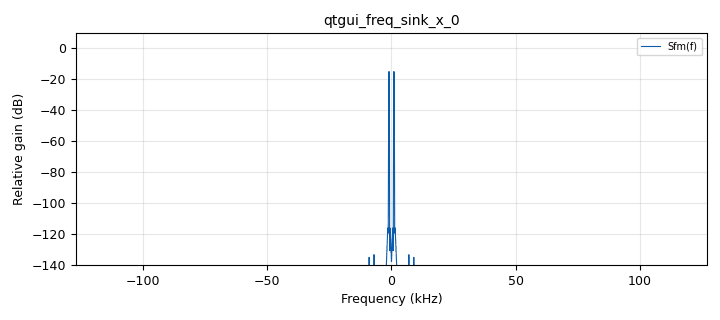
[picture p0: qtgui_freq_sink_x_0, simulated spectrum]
<?xml version='1.0' encoding='utf-8'?>
<?grc format='1' created='3.7.9'?>
<flow_graph>
<block>
<key>options</key>
<param><key>id</key><value>top_block</value></param>
<param><key>category</key><value>Custom</value></param>
<param><key>generate_options</key><value>qt_gui</value></param>
</block>
<block>
<key>variable_qtgui_range</key>
<param><key>id</key><value>Am</value></param>
<param><key>value</key><value>0</value></param>
<param><key>orient</key><value>Qt.Horizontal</value></param>
<param><key>start</key><value>0</value></param>
<param><key>step</key><value>0.25</value></param>
<param><key>stop</key><value>2</value></param>
</block>
<block>
<key>variable_qtgui_range</key>
<param><key>id</key><value>fc</value></param>
<param><key>value</key><value>1000</value></param>
<param><key>orient</key><value>Qt.Horizontal</value></param>
<param><key>start</key><value>1000</value></param>
<param><key>step</key><value>500</value></param>
<param><key>stop</key><value>5000</value></param>
</block>
<block>
<key>variable_qtgui_range</key>
<param><key>id</key><value>fm</value></param>
<param><key>value</key><value>0.5</value></param>
<param><key>orient</key><value>Qt.Horizontal</value></param>
<param><key>start</key><value>0.5</value></param>
<param><key>step</key><value>0.5</value></param>
<param><key>stop</key><value>5</value></param>
</block>
<block>
<key>variable</key>
<param><key>id</key><value>kvco</value></param>
<param><key>value</key><value>2000</value></param>
</block>
<block>
<key>variable</key>
<param><key>id</key><value>samp_rate</value></param>
<param><key>value</key><value>254000</value></param>
</block>
<block>
<key>analog_sig_source_x</key>
<param><key>id</key><value>analog_sig_source_x_0</value></param>
<param><key>amp</key><value>1</value></param>
<param><key>freq</key><value>fc</value></param>
<param><key>offset</key><value>0</value></param>
<param><key>type</key><value>complex</value></param>
<param><key>samp_rate</key><value>samp_rate</value></param>
<param><key>waveform</key><value>analog.GR_COS_WAVE</value></param>
</block>
<block>
<key>audio_sink</key>
<param><key>id</key><value>audio_sink_0</value></param>
<param><key>samp_rate</key><value>samp_rate</value></param>
</block>
<block>
<key>blocks_complex_to_real</key>
<param><key>id</key><value>blocks_complex_to_real_0</value></param>
</block>
<block>
<key>blocks_integrate_xx</key>
<param><key>id</key><value>blocks_integrate_xx_0</value></param>
<param><key>decim</key><value>1</value></param>
<param><key>type</key><value>float</value></param>
</block>
<block>
<key>blocks_multiply_xx</key>
<param><key>id</key><value>blocks_multiply_xx_0</value></param>
<param><key>type</key><value>complex</value></param>
</block>
<block>
<key>blocks_vco_c</key>
<param><key>id</key><value>blocks_vco_c_0</value></param>
<param><key>amplitude</key><value>1</value></param>
<param><key>samp_rate</key><value>samp_rate</value></param>
<param><key>sensitivity</key><value>2*3.14159265*kvco</value></param>
</block>
<block>
<key>qtgui_freq_sink_x</key>
<param><key>id</key><value>qtgui_freq_sink_x_0</value></param>
<param><key>bw</key><value>samp_rate</value></param>
<param><key>fc</key><value>0</value></param>
<param><key>ctrlpanel</key><value>True</value></param>
<param><key>fftsize</key><value>4096</value></param>
<param><key>grid</key><value>True</value></param>
<param><key>label1</key><value>Sfm(f)</value></param>
<param><key>showports</key><value>True</value></param>
<param><key>type</key><value>float</value></param>
<param><key>wintype</key><value>firdes.WIN_BLACKMAN_hARRIS</value></param>
</block>
<block>
<key>analog_sig_source_x</key>
<param><key>id</key><value>v</value></param>
<param><key>amp</key><value>Am</value></param>
<param><key>freq</key><value>fm</value></param>
<param><key>offset</key><value>0</value></param>
<param><key>type</key><value>float</value></param>
<param><key>samp_rate</key><value>samp_rate</value></param>
<param><key>waveform</key><value>analog.GR_SIN_WAVE</value></param>
</block>
<connection><source_block_id>analog_sig_source_x_0</source_block_id><sink_block_id>blocks_multiply_xx_0</sink_block_id><source_key>0</source_key><sink_key>1</sink_key></connection>
<connection><source_block_id>blocks_complex_to_real_0</source_block_id><sink_block_id>audio_sink_0</sink_block_id><source_key>0</source_key><sink_key>0</sink_key></connection>
<connection><source_block_id>blocks_complex_to_real_0</source_block_id><sink_block_id>qtgui_freq_sink_x_0</sink_block_id><source_key>0</source_key><sink_key>0</sink_key></connection>
<connection><source_block_id>blocks_integrate_xx_0</source_block_id><sink_block_id>blocks_vco_c_0</sink_block_id><source_key>0</source_key><sink_key>0</sink_key></connection>
<connection><source_block_id>blocks_multiply_xx_0</source_block_id><sink_block_id>blocks_complex_to_real_0</sink_block_id><source_key>0</source_key><sink_key>0</sink_key></connection>
<connection><source_block_id>blocks_vco_c_0</source_block_id><sink_block_id>blocks_multiply_xx_0</sink_block_id><source_key>0</source_key><sink_key>0</sink_key></connection>
<connection><source_block_id>v</source_block_id><sink_block_id>blocks_integrate_xx_0</sink_block_id><source_key>0</source_key><sink_key>0</sink_key></connection>
</flow_graph>
